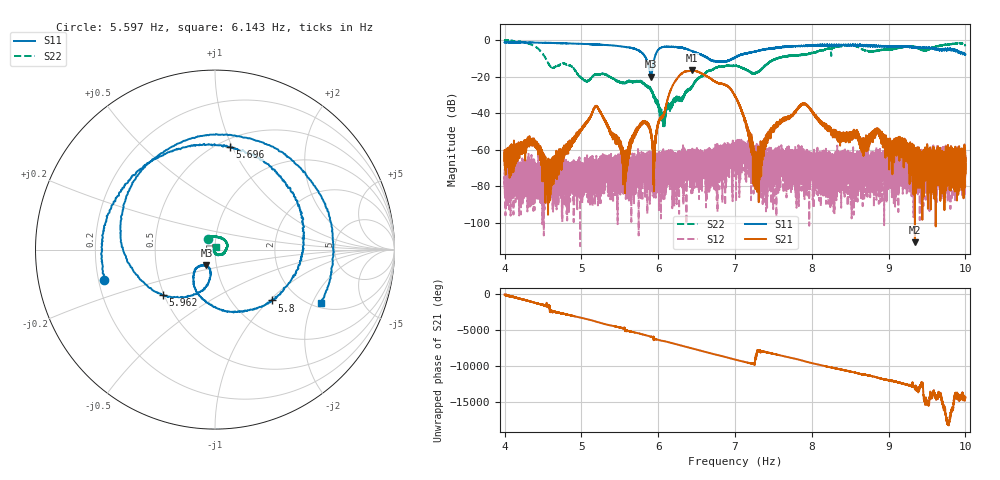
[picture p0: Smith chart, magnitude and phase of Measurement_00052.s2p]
!Created with skrf (http://scikit-rf.org).
# Hz S RI R 50.0
!freq ReS11 ImS11 ReS21 ImS21 ReS12 ImS12 ReS22 ImS22
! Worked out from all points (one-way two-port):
!   14001 points, 4 Hz to 10 Hz, reference 50 ohm
!   highest |S21| = -16.62 dB at 6.439 Hz (marker M1); lowest = -110.8 dB at 9.343 Hz (marker M2)
!   lowest |S11| = -20.0 dB at 5.906 Hz (marker M3), VSWR 1.22, Z = 44.8 - j7.92 ohm
!   |S11| at or under -10 dB: 5.842 Hz to 5.951 Hz (109.5 mHz wide, 1.86 % of centre); 6.653 Hz to 6.967 Hz (313.5 mHz wide, 4.6 % of centre); 6.967155 Hz to 6.969876 Hz (2.721 mHz wide, 0.039 % of centre) (the widest 3 of 14)
!   |S22| runs from -48.2 to -0.2 dB; largest |S21 - S12| = 0.15
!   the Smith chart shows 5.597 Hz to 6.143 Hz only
!   S11 on the Smith chart (normalised r, x): 5.597 Hz: 0.22, -0.13; 5.696 Hz: 0.58, +0.98; 5.8 Hz: 1.49, -1.03; 5.962 Hz: 0.49, -0.29; 6.143 Hz: 2.21, -2.32
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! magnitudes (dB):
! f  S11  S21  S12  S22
! 4 Hz  -1.2  -68.3  -79.2  -0.3
! 4.351 Hz  -1.3  -54.1  -75.1  -2.5
! 4.587 Hz  -1.5  -69.5  -73.7  -13.8
! 5 Hz  -2.0  -48.6  -77.4  -20.7
! 5.203 Hz  -2.4  -36.6  -70.6  -18.9
! 5.597 Hz  -3.9  -63.4  -80.6  -22.9
! 5.696 Hz  -4.8  -51.3  -65.7  -22.8
! 5.8 Hz  -7.4  -44.9  -68.5  -23.3
! 5.906 Hz  -20.0  -50.8  -81.3  -27.0
! 5.962 Hz  -8.3  -54.9  -67.5  -32.5
! 6 Hz  -5.3  -45.4  -73.7  -35.0
! 6.143 Hz  -3.6  -29.4  -66.5  -36.1
! 6.439 Hz  -5.9  -16.6  -67.5  -25.3
! 7 Hz  -9.4  -30.6  -66.0  -14.0
! 7.279 Hz  -6.1  -63.7  -69.7  -17.8
! 7.56 Hz  -4.1  -45.3  -60.8  -9.8
! 8 Hz  -3.1  -38.9  -67.1  -6.9
! 8.358 Hz  -2.6  -52.9  -64.2  -3.4
! 8.854 Hz  -3.5  -49.8  -73.1  -5.7
! 9 Hz  -3.6  -57.3  -66.1  -5.1
! 9.343 Hz  -3.9  -110.8  -69.6  -3.8
! 10 Hz  -7.8  -72.8  -65.4  -3.1
